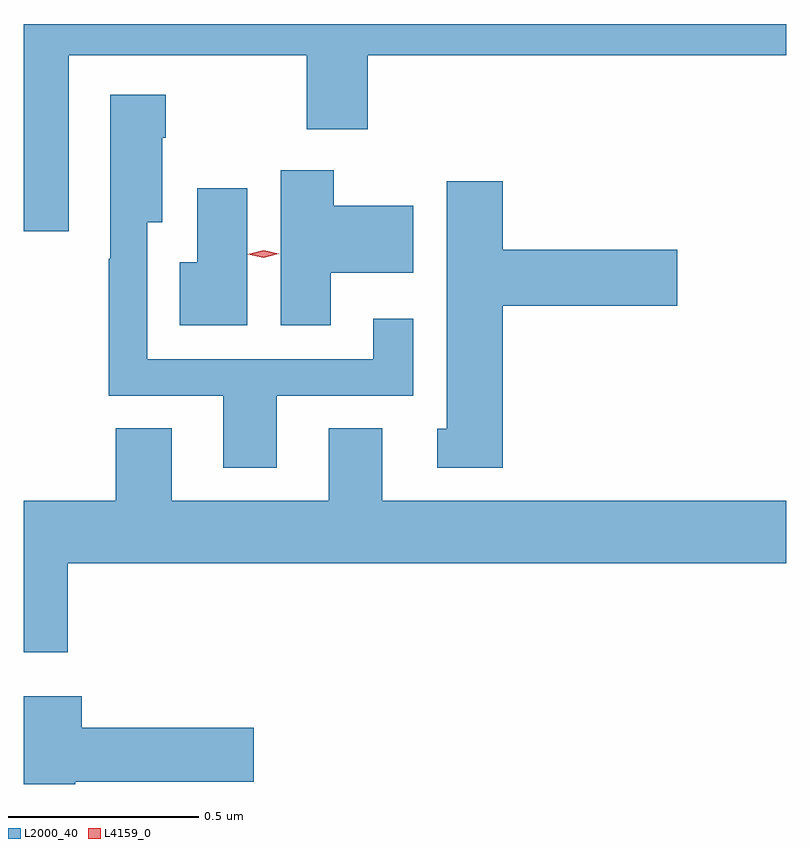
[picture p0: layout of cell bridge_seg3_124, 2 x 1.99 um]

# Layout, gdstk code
import gdstk
lib = gdstk.Library(unit=1e-6, precision=1e-09)
def P(c, l, *ps):  # polygons
    for p in ps: c.add(gdstk.Polygon(p, *l))
L2000_40 = (2000, 40)
L4159_0 = (4159, 0)

bridge_seg3_124 = lib.new_cell('bridge_seg3_124')
P(bridge_seg3_124, L2000_40, [(153.807,668.487),(153.925,668.487),(153.925,668.948),(154.549,668.948),(154.549,668.754),(154.709,668.754),(154.709,668.948),(155.807,668.948),(155.807,669.03),(153.807,669.03)],
  [(154.471,668.055),(154.828,668.055),(154.828,668.257),(154.724,668.257),(154.724,668.151),(154.131,668.151),(154.131,668.51),(154.171,668.51),(154.171,668.732),(154.179,668.732),(154.179,668.845),(154.034,668.845),(154.034,668.414),(154.03,668.414),(154.03,668.055),(154.331,668.055),(154.331,667.866),(154.471,667.866)],
  [(154.612,668.378),(154.828,668.378),(154.828,668.554),(154.62,668.554),(154.62,668.647),(154.481,668.647),(154.481,668.24),(154.612,668.24)],
  [(155.063,668.291),(155.521,668.291),(155.521,668.438),(155.063,668.438),(155.063,668.617),(154.916,668.617),(154.916,667.968),(154.892,667.968),(154.892,667.866),(155.063,667.866)],
  [(154.393,668.599),(154.262,668.599),(154.262,668.405),(154.216,668.405),(154.216,668.24),(154.393,668.24)],
  [(153.923,667.616),(155.807,667.616),(155.807,667.78),(154.747,667.78),(154.747,667.97),(154.607,667.97),(154.607,667.78),(154.195,667.78),(154.195,667.97),(154.048,667.97),(154.048,667.78),(153.807,667.78),(153.807,667.383),(153.923,667.383)],
  [(153.942,667.043),(154.411,667.043),(154.411,667.185),(153.959,667.185),(153.959,667.267),(153.807,667.267),(153.807,667.037),(153.942,667.037)])
P(bridge_seg3_124, L4159_0, [(154.436,668.417),(154.395,668.426),(154.395,668.426),(154.395,668.426),(154.436,668.437),(154.476,668.428),(154.477,668.428),(154.476,668.428)])

lib.write_gds('bridge_seg3_124.gds')
